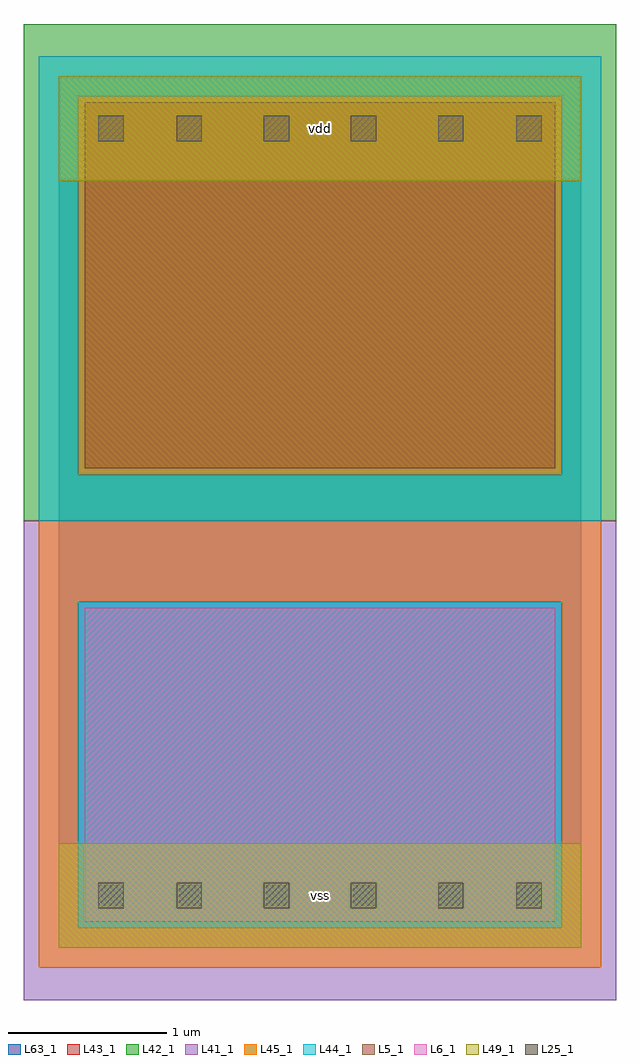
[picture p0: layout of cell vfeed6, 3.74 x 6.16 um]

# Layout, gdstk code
import gdstk
lib = gdstk.Library(unit=1e-6, precision=1e-09)
def R(c, l, rs):  # rectangles x0, y0, x1, y1
    for r in rs: c.add(gdstk.rectangle(r[:2], r[2:], *l))
def A(c, l, x, y, w, h, nx, ny, dx, dy):  # array of equal rectangles
    R(c, l, [(x+i*dx, y+j*dy, x+i*dx+w, y+j*dy+h) for i in range(nx) for j in range(ny)])
L5_1 = (5, 1)
L6_1 = (6, 1)
L25_1 = (25, 1)
L41_1 = (41, 1)
L42_1 = (42, 1)
L43_1 = (43, 1)
L44_1 = (44, 1)
L45_1 = (45, 1)
L49_1 = (49, 1)
L63_1 = (63, 1)

vfeed6 = lib.new_cell('vfeed6')
R(vfeed6, L5_1, [(0.165,3.025,3.135,5.335)])
R(vfeed6, L6_1, [(0.165,0.165,3.135,2.145)])
A(vfeed6, L25_1, 0.745, 0.25, 0.16, 0.16, 4, 2, 0.55, 4.84)
R(vfeed6, L25_1, [(0.25,0.25,0.41,0.41), (2.89,0.25,3.05,0.41), (0.25,5.09,0.41,5.25), (2.89,5.09,3.05,5.25)])
R(vfeed6, L41_1, [(-0.22,-0.33,3.52,2.695)])
R(vfeed6, L42_1, [(-0.22,2.695,3.52,5.83)])
R(vfeed6, L43_1, [(0.165,0.165,3.135,2.145), (0.165,3.025,3.135,5.335)])
R(vfeed6, L44_1, [(0.125,0.125,3.175,2.185), (-0.125,2.695,3.425,2.985), (-0.125,2.985,0.125,5.375), (3.175,2.985,3.425,5.375), (-0.125,5.375,3.425,5.625)])
R(vfeed6, L45_1, [(-0.125,-0.125,3.425,0.125), (-0.125,0.125,0.125,2.185), (3.175,0.125,3.425,2.185), (-0.125,2.185,3.425,2.695), (0.125,2.985,3.175,5.375)])
R(vfeed6, L49_1, [(0,0,3.3,0.66), (0,4.84,3.3,5.5)])
R(vfeed6, L63_1, [(0,0,3.3,5.5)])
vfeed6.add(gdstk.Label('vss', (1.65,0.33), layer=49, texttype=1))
vfeed6.add(gdstk.Label('vss', (1.65,0.33), layer=49, texttype=1))
vfeed6.add(gdstk.Label('vdd', (1.65,5.17), layer=49, texttype=1))
vfeed6.add(gdstk.Label('vdd', (1.65,5.17), layer=49, texttype=1))

lib.write_gds('vfeed6.gds')
